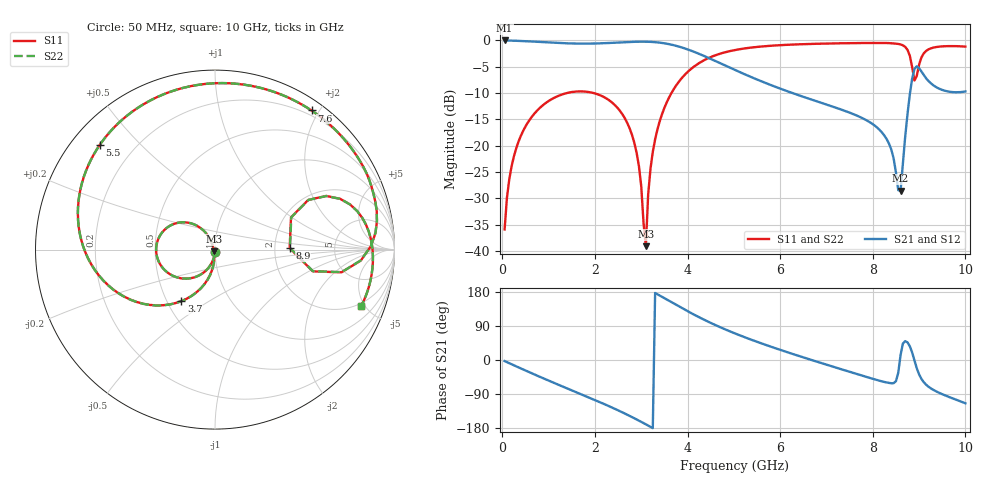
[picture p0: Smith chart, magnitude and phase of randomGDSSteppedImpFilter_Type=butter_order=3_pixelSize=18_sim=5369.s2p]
! freq	dB(S11)	phase(S11)	dB(S12)	phase(S12)
!  dB(S21)	phase(S21)	dB(S22)	phase(S22)
!S-par simulation data
#  GHz  S  DB  R 50
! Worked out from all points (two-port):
!   200 points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, 50 MHz to 10 GHz, reference 50 ohm
!   highest |S21| = 0.00 dB at 50 MHz (marker M1); lowest = -28.6 dB at 8.6 GHz (marker M2)
!   |S21| within 3 dB of the highest: start of sweep to 4.371 GHz
!   lowest |S11| = -39.1 dB at 3.1 GHz (marker M3), VSWR 1.02, Z = 49.4 - j0.895 ohm
!   |S11| at or under -10 dB: start of sweep to 1.393 GHz; 1.971 GHz to 3.653 GHz (1.682 GHz wide, 59.8 % of centre)
!   |S22| runs from -39.4 to -0.5 dB; largest |S21 - S12| = 0
!   S11 on the Smith chart (normalised r, x): 50 MHz: 1.00, -0.03; 3.7 GHz: 0.59, -0.38; 5.5 GHz: 0.08, +0.39; 7.6 GHz: 0.14, +1.90; 8.9 GHz: 2.42, +0.05; 10 GHz: 1.80, -4.75
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0.05  -35.92 -92.7  -0.00 -2.8  -0.00 -2.8  -35.92 -92.7
0.2  -23.95 -101.4  -0.04 -11.2  -0.04 -11.2  -23.95 -101.4
0.5  -16.36 -118.2  -0.14 -27.7  -0.14 -27.7  -16.36 -118.2
1.75  -9.70 176.9  -0.61 -92.7  -0.61 -92.7  -9.70 176.9
2.75  -16.72 124.0  -0.29 -147.5  -0.29 -147.5  -16.72 123.9
2.95  -23.86 115.5  -0.24 -160.0  -0.24 -160.0  -23.87 115.0
3.1  -39.10 -125.2  -0.24 -169.7  -0.24 -169.7  -39.42 -122.9
3.2  -24.38 -94.9  -0.27 -176.4  -0.27 -176.4  -24.39 -94.3
3.4  -15.33 -103.8  -0.42 170.0  -0.42 170.0  -15.34 -103.6
3.7  -9.29 -123.2  -0.90 149.2  -0.90 149.2  -9.29 -123.0
4.25  -4.30 -158.6  -2.55 112.8  -2.55 112.8  -4.30 -158.5
5.05  -1.78 158.2  -5.71 68.9  -5.71 68.9  -1.78 158.2
5.5  -1.23 137.6  -7.42 48.0  -7.42 48.0  -1.23 137.7
6.7  -0.65 89.4  -11.31 -0.8  -11.31 -0.8  -0.66 89.4
7.6  -0.51 55.2  -14.07 -34.9  -14.07 -34.9  -0.51 55.3
8.35  -0.51 24.3  -19.60 -60.5  -19.60 -60.5  -0.51 24.3
8.6  -0.76 10.0  -28.55 13.1  -28.55 13.1  -0.76 10.0
8.8  -2.90 -10.2  -10.26 36.3  -10.26 36.3  -2.89 -10.1
8.9  -7.62 1.2  -5.41 -1.1  -5.41 -1.1  -7.58 1.2
9.05  -3.24 25.8  -5.91 -49.7  -5.91 -49.7  -3.24 25.7
9.4  -1.22 4.3  -9.02 -84.7  -9.02 -84.7  -1.22 4.3
10  -1.18 -21.0  -9.70 -114.2  -9.70 -114.2  -1.18 -21.0
